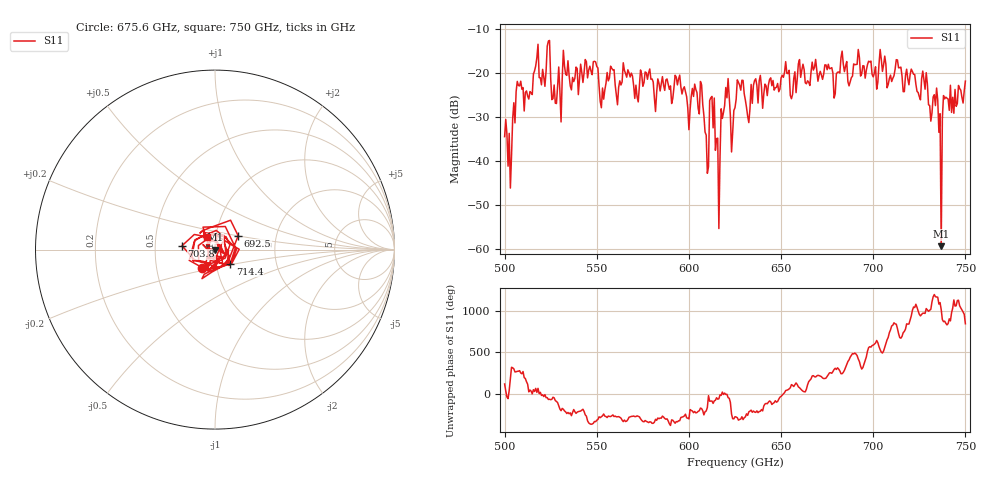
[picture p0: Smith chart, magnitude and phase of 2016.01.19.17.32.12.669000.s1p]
!Created with skrf (http://scikit-rf.org).
# GHz S RI R 50.0
!freq ReS11 ImS11
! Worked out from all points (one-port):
!   401 points, 500 GHz to 750 GHz, reference 50 ohm
!   lowest |S11| = -59.4 dB at 736.9 GHz (marker M1), VSWR 1.00, Z = 50 - j0.0981 ohm
!   |S11| at or under -10 dB: start of sweep to end of sweep
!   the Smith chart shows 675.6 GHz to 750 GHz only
!   S11 on the Smith chart (normalised r, x): 675.6 GHz: 0.85, -0.17; 692.5 GHz: 1.28, +0.20; 703.8 GHz: 0.69, +0.03; 714.4 GHz: 1.17, -0.18; 750 GHz: 0.91, +0.12
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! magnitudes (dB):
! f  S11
! 500 GHz  -34.5
! 502.5 GHz  -33.7
! 507.5 GHz  -22.8
! 513.8 GHz  -24.2
! 516.9 GHz  -18.4
! 523.8 GHz  -12.7
! 526.9 GHz  -22.7
! 531.2 GHz  -21.3
! 549.4 GHz  -17.5
! 562.5 GHz  -21.8
! 593.8 GHz  -22.7
! 606.9 GHz  -22.7
! 609.4 GHz  -34.1
! 612.5 GHz  -25.3
! 615.6 GHz  -34.8
! 620 GHz  -23.3
! 625 GHz  -27.9
! 656.2 GHz  -24.8
! 675.6 GHz  -18.0
! 687.5 GHz  -22.0
! 692.5 GHz  -16.5
! 703.8 GHz  -14.7
! 714.4 GHz  -18.8
! 718.8 GHz  -21.3
! 733.8 GHz  -27.4
! 736.9 GHz  -59.4
! 739.4 GHz  -25.5
! 750 GHz  -21.8
